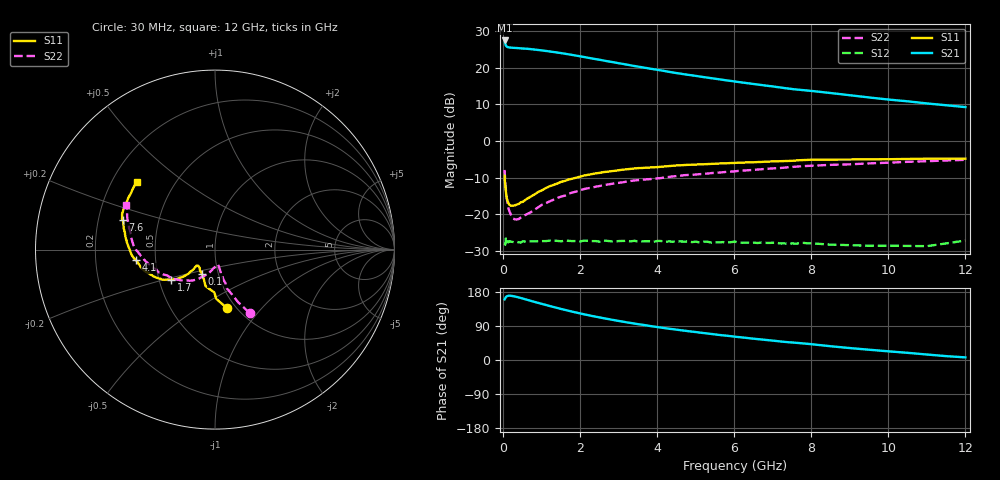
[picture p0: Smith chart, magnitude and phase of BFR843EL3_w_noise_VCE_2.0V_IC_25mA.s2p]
! Infineon Technologies  Discrete & RF Semiconductors
! BFR843EL3
! VCE =  2.0 V,  IC =  25 mA
! Common Emitter S-Parameters:  Aug 2013
# GHz  S  MA  R  50
!  f  S11  S21  S12  S22
! GHz  MAG  ANG  MAG  ANG  MAG  ANG  MAG  ANG
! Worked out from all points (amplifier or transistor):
!   103 points, 30 MHz to 12 GHz, reference 50 ohm
!   highest |S21| = 27.5 dB at 30 MHz (marker M1)
!   |S21| within 3 dB of that: start of sweep to 1.194 GHz
!   unconditionally stable (mu >= 1): 200.9 MHz to 516.4 MHz; 3.544 GHz to end of sweep
!   at 400 MHz: K = 1.01, MAG = 26.0 dB, |S12| = -27.7 dB
!   at 3.7 GHz: K = 1.01, MAG = 23.2 dB, |S12| = -27.4 dB
!   at 12 GHz: K = 2.00, MAG = 12.5 dB, |S12| = -27.2 dB
!   lowest NFmin = 1.21 dB at 450 MHz
!   S11 on the Smith chart (normalised r, x): 30 MHz: 0.91, -0.67; 100 MHz: 0.83, -0.23; 1.7 GHz: 0.58, -0.22; 4.1 GHz: 0.39, -0.06; 7.6 GHz: 0.30, +0.14; 12 GHz: 0.30, +0.34
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0.03  0.3343 -78.3  23.76 160.0  0.0373 30.0  0.4018 -61.4
0.04  0.2736 -88.7  22.04 161.9  0.039 20.1  0.3182 -66.4
0.06  0.211 -104.4  20.32 165.5  0.0464 17.6  0.225 -73.0
0.08  0.1731 -111.4  19.7 167.6  0.042 10.4  0.1749 -74.4
0.1  0.1547 -118.2  19.4 168.7  0.0425 9.4  0.148 -74.9
0.15  0.1345 -128.5  19.07 169.7  0.0426 6.3  0.1114 -76.6
0.25  0.1308 -136.8  18.85 168.5  0.0415 5.4  0.0869 -78.8
0.7  0.1723 -137.5  18.11 156.4  0.0424 1.9  0.1053 -95.5
1  0.2117 -138.5  17.35 148.0  0.0427 1.6  0.134 -104.1
1.2  0.2403 -140.2  16.8 142.5  0.0434 2.7  0.1493 -109.7
1.5  0.2763 -143.2  15.94 134.6  0.0424 3.0  0.1739 -116.9
1.7  0.2976 -145.2  15.33 129.7  0.043 3.2  0.191 -120.2
2.1  0.3376 -150.3  14.08 120.4  0.0434 2.4  0.2206 -128.4
2.6  0.3756 -156.7  12.63 110.3  0.0437 4.0  0.2484 -136.0
3.2  0.4104 -163.4  11.1 99.4  0.0431 3.3  0.2789 -143.7
4.1  0.4447 -172.3  9.23 85.4  0.0428 3.1  0.3114 -153.1
5.1  0.4789 179.0  7.628 72.3  0.0408 5.2  0.3521 -162.6
6.1  0.5045 171.9  6.425 60.6  0.0412 5.5  0.3899 -170.0
7.6  0.5409 162.3  5.075 45.4  0.0394 10.1  0.4456 178.9
8.5  0.5581 155.0  4.533 36.3  0.0382 9.7  0.4718 171.8
10.5  0.5681 144.3  3.493 18.9  0.0367 23.3  0.5191 160.3
12  0.575 139.2  2.911 6.9  0.0435 35.1  0.5528 153.6
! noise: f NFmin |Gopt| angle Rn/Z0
0.45  1.21  0.13  160  0.13
0.9  1.21  0.13  156  0.12
1.5  1.22  0.15  155  0.11
1.9  1.23  0.15  157  0.11
2.4  1.24  0.16  161  0.11
3.5  1.25  0.18  167  0.11
5.5  1.27  0.25  184  0.1
8  1.29  0.35  202  0.09
10  1.32  0.47  222  0.09
